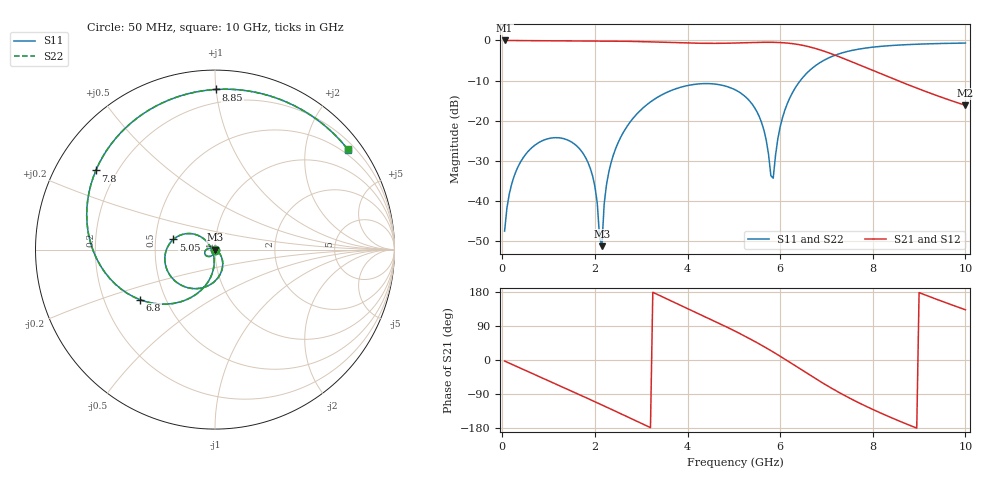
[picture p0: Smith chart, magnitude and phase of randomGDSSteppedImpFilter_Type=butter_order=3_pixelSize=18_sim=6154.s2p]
! freq	dB(S11)	phase(S11)	dB(S12)	phase(S12)
!  dB(S21)	phase(S21)	dB(S22)	phase(S22)
!S-par simulation data
#  GHz  S  DB  R 50
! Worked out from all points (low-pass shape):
!   200 points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, 50 MHz to 10 GHz, reference 50 ohm
!   highest |S21| = 0.00 dB at 50 MHz (marker M1); lowest = -16.2 dB at 10 GHz (marker M2)
!   |S21| within 3 dB of the highest: start of sweep to 7.029 GHz
!   lowest |S11| = -51.3 dB at 2.15 GHz (marker M3), VSWR 1.01, Z = 50.3 - j0.0813 ohm
!   |S11| at or under -10 dB: start of sweep to 6.436 GHz
!   |S22| runs from -51.0 to -0.7 dB; largest |S21 - S12| = 0
!   S11 on the Smith chart (normalised r, x): 50 MHz: 1.00, -0.01; 5.05 GHz: 0.62, +0.07; 6.8 GHz: 0.36, -0.27; 7.8 GHz: 0.12, +0.30; 8.85 GHz: 0.11, +1.00; 10 GHz: 0.37, +2.95
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0.05  -47.53 -87.6  -0.00 -2.8  -0.00 -2.8  -47.52 -87.6
0.25  -34.02 -102.9  -0.03 -13.8  -0.03 -13.8  -34.02 -103.0
0.6  -27.14 -123.3  -0.05 -33.0  -0.05 -33.0  -27.14 -123.4
1.2  -24.25 -156.8  -0.09 -65.9  -0.09 -65.9  -24.25 -156.9
1.75  -28.26 172.3  -0.12 -96.2  -0.12 -96.2  -28.26 172.0
2  -36.41 157.0  -0.13 -110.1  -0.13 -110.1  -36.41 156.0
2.15  -51.28 -17.2  -0.14 -118.6  -0.14 -118.6  -50.97 -10.9
2.25  -35.96 -32.9  -0.15 -124.2  -0.15 -124.2  -35.94 -31.7
2.45  -26.89 -45.5  -0.17 -135.5  -0.17 -135.5  -26.89 -45.1
3.4  -13.84 -100.2  -0.43 170.1  -0.43 170.1  -13.84 -100.0
4.3  -10.79 -150.9  -0.71 118.8  -0.71 118.8  -10.78 -150.7
5.05  -12.44 166.3  -0.64 74.6  -0.64 74.6  -12.43 166.4
5.55  -19.01 138.5  -0.48 42.3  -0.48 42.3  -19.01 138.6
5.85  -34.34 -130.1  -0.47 21.1  -0.47 21.1  -34.32 -130.1
5.95  -24.51 -94.4  -0.50 13.7  -0.50 13.7  -24.51 -94.3
6.1  -17.43 -96.8  -0.60 2.3  -0.60 2.3  -17.43 -96.7
6.7  -6.85 -138.8  -1.80 -44.3  -1.80 -44.3  -6.85 -138.7
6.8  -5.98 -146.2  -2.13 -51.9  -2.13 -51.9  -5.98 -146.2
7.8  -1.97 146.4  -6.54 -118.9  -6.54 -118.9  -1.97 146.5
8.35  -1.31 115.3  -9.15 -149.6  -9.15 -149.6  -1.31 115.4
8.85  -0.99 89.5  -11.43 -174.9  -11.43 -174.9  -0.99 89.6
10  -0.66 37.0  -16.17 132.5  -16.17 132.5  -0.66 37.0
